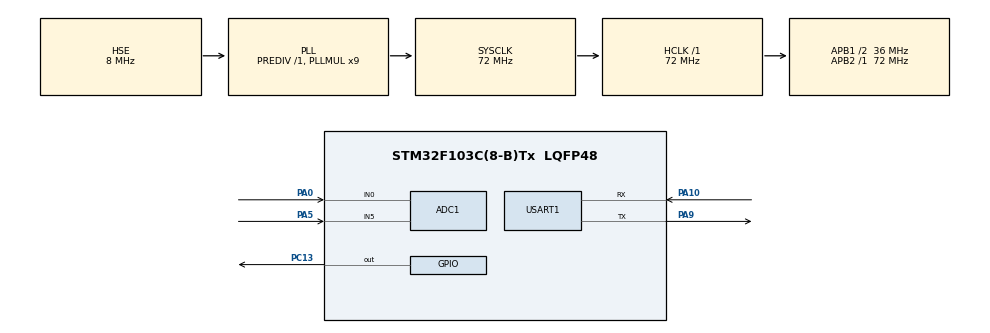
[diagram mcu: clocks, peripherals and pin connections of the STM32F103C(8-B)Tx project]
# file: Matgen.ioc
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ADC1.Channel-0\#ChannelRegularConversion=ADC_CHANNEL_0
ADC1.Channel-1\#ChannelRegularConversion=ADC_CHANNEL_5
ADC1.Channel-2\#ChannelRegularConversion=ADC_CHANNEL_VREFINT
ADC1.ContinuousConvMode=DISABLE
ADC1.ExternalTrigConv=ADC_EXTERNALTRIGCONV_T3_TRGO
ADC1.NbrOfConversion=3
ADC1.NbrOfConversionFlag=1
ADC1.Rank-0\#ChannelRegularConversion=1
ADC1.Rank-1\#ChannelRegularConversion=2
ADC1.Rank-2\#ChannelRegularConversion=3
ADC1.SamplingTime-0\#ChannelRegularConversion=ADC_SAMPLETIME_71CYCLES_5
ADC1.SamplingTime-1\#ChannelRegularConversion=ADC_SAMPLETIME_71CYCLES_5
ADC1.SamplingTime-2\#ChannelRegularConversion=ADC_SAMPLETIME_239CYCLES_5
ADC1.master=1
Dma.ADC1.0.Direction=DMA_PERIPH_TO_MEMORY
Dma.ADC1.0.Instance=DMA1_Channel1
Dma.ADC1.0.MemDataAlignment=DMA_MDATAALIGN_HALFWORD
Dma.ADC1.0.MemInc=DMA_MINC_ENABLE
Dma.ADC1.0.Mode=DMA_CIRCULAR
Dma.ADC1.0.PeriphDataAlignment=DMA_PDATAALIGN_HALFWORD
Dma.ADC1.0.PeriphInc=DMA_PINC_DISABLE
Dma.ADC1.0.Priority=DMA_PRIORITY_LOW
Dma.Request0=ADC1
Dma.Request1=USART1_TX
Dma.USART1_TX.1.Direction=DMA_MEMORY_TO_PERIPH
Dma.USART1_TX.1.Instance=DMA1_Channel4
Dma.USART1_TX.1.MemDataAlignment=DMA_MDATAALIGN_BYTE
Dma.USART1_TX.1.MemInc=DMA_MINC_ENABLE
Dma.USART1_TX.1.Mode=DMA_NORMAL
Dma.USART1_TX.1.PeriphDataAlignment=DMA_PDATAALIGN_BYTE
Dma.USART1_TX.1.PeriphInc=DMA_PINC_DISABLE
Dma.USART1_TX.1.Priority=DMA_PRIORITY_LOW
Mcu.Family=STM32F1
Mcu.Name=STM32F103C(8-B)Tx
Mcu.Package=LQFP48
NVIC.DMA1_Channel1_IRQn=true\:0\:0\:false\:false\:true\:false\:true\:true
NVIC.DMA1_Channel4_IRQn=true\:0\:0\:false\:false\:true\:false\:true\:true
NVIC.PriorityGroup=NVIC_PRIORITYGROUP_4
NVIC.USART1_IRQn=true\:0\:0\:false\:false\:true\:true\:true\:true
PA0-WKUP.Signal=ADCx_IN0
PA10.Mode=Asynchronous
PA10.Signal=USART1_RX
PA5.Signal=ADCx_IN5
PA9.Mode=Asynchronous
PA9.Signal=USART1_TX
PC13-TAMPER-RTC.GPIO_Speed=GPIO_SPEED_FREQ_MEDIUM
PC13-TAMPER-RTC.Signal=GPIO_Output
PD0-OSC_IN.Mode=HSE-External-Oscillator
PD0-OSC_IN.Signal=RCC_OSC_IN
PD1-OSC_OUT.Mode=HSE-External-Oscillator
PD1-OSC_OUT.Signal=RCC_OSC_OUT
ProjectManager.HeapSize=0x200
ProjectManager.StackSize=0x400
ProjectManager.TargetToolchain=STM32CubeIDE
RCC.ADCPresc=RCC_ADCPCLK2_DIV6
RCC.AHBFreq_Value=72000000
RCC.APB1CLKDivider=RCC_HCLK_DIV2
RCC.APB1Freq_Value=36000000
RCC.APB1TimFreq_Value=72000000
RCC.APB2Freq_Value=72000000
RCC.APB2TimFreq_Value=72000000
RCC.HCLKFreq_Value=72000000
RCC.PLLMUL=RCC_PLL_MUL9
RCC.PLLSourceVirtual=RCC_PLLSOURCE_HSE
RCC.SYSCLKFreq_VALUE=72000000
RCC.SYSCLKSource=RCC_SYSCLKSOURCE_PLLCLK
RCC.USBFreq_Value=72000000
SH.ADCx_IN0.0=ADC1_IN0,IN0
SH.ADCx_IN5.0=ADC1_IN5,IN5
TIM3.Period=899
TIM3.Prescaler=23
TIM3.TIM_MasterOutputTrigger=TIM_TRGO_UPDATE
USART1.Parity=PARITY_NONE
USART1.VirtualMode=VM_ASYNC
USART1.WordLength=WORDLENGTH_8B
VP_ADC1_Vref_Input.Mode=IN-Vrefint
VP_SYS_VS_ND.Mode=No_Debug
VP_TIM3_VS_ClockSourceINT.Mode=Internal
board=custom

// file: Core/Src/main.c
/* USER CODE BEGIN Header */
/**
 ******************************************************************************
 * @file           : main.c
 * @brief          : Current Logger
 ******************************************************************************
 * @attention
 *
 * Copyright (c) 2026 STMicroelectronics.
 * All rights reserved.
 *
 * This software is licensed under terms that can be found in the LICENSE file
 * in the root directory of this software component.
 * If no LICENSE file comes with this software, it is provided AS-IS.
 *
 ******************************************************************************
 */
/* USER CODE END Header */
#include "main.h"

/* USER CODE BEGIN Includes */
#include <string.h>
#include "rmsPeak.h"
/* USER CODE END Includes */

/* USER CODE BEGIN PD */

#define ADCbufferLength 400

/* USER CODE END PD */

ADC_HandleTypeDef hadc1;
DMA_HandleTypeDef hdma_adc1;

TIM_HandleTypeDef htim3;

UART_HandleTypeDef huart1;
DMA_HandleTypeDef hdma_usart1_tx;

/* USER CODE BEGIN PV */
static volatile uint16_t ADC_buff[ADCbufferLength];
static volatile uint8_t ADC_FirstHalf = 0;
static volatile uint8_t ADC_SecondHalf = 0;
unsigned int rms = 0, peak = 0;
static volatile uint8_t failflag = 0;
static uint8_t txbuf[8];

float TruVdd = 3.30f;
float BiasV = 1.65f;

/* USER CODE END PV */

void SystemClock_Config(void);
static void MX_GPIO_Init(void);
static void MX_DMA_Init(void);
static void MX_ADC1_Init(void);
static void MX_USART1_UART_Init(void);
static void MX_TIM3_Init(void);

/* USER CODE BEGIN 0 */
static HAL_StatusTypeDef GetSum(uint32_t adcchannel, uint32_t *sum) {

	ADC_ChannelConfTypeDef sConfig = { 0 };

	hadc1.Instance = ADC1;
	hadc1.Init.ScanConvMode = ADC_SCAN_DISABLE;
	hadc1.Init.ContinuousConvMode = DISABLE;
	hadc1.Init.DiscontinuousConvMode = DISABLE;
	hadc1.Init.ExternalTrigConv = ADC_SOFTWARE_START;
	hadc1.Init.DataAlign = ADC_DATAALIGN_RIGHT;
	hadc1.Init.NbrOfConversion = 1;
	if (HAL_ADC_Init(&hadc1) != HAL_OK) {
		return HAL_ERROR;
	}
	/** Configure Regular Channel
	 */
	sConfig.Channel = adcchannel;
	sConfig.Rank = ADC_REGULAR_RANK_1;
	sConfig.SamplingTime = ADC_SAMPLETIME_239CYCLES_5;
	if (HAL_ADC_ConfigChannel(&hadc1, &sConfig) != HAL_OK) {
		return HAL_ERROR;
	}

	HAL_ADCEx_Calibration_Start(&hadc1);

	for (int var = 0; var < 16; var++) {

		HAL_ADC_Start(&hadc1);

		if (HAL_ADC_PollForConversion(&hadc1, 10) != HAL_OK)
			goto fail;
		*sum += HAL_ADC_GetValue(&hadc1);

		HAL_ADC_Stop(&hadc1);
	}
	return HAL_OK;

	fail: return HAL_ERROR;

}
static HAL_StatusTypeDef GetVdd(float *TruVdd, float *BiasV) {

	uint32_t sumVdd = 0, sumBias = 0;
	float avgVdd = 0.00f, avgBias = 0.0f;
	if (GetSum(ADC_CHANNEL_VREFINT, &sumVdd) != HAL_OK)
		goto fail;
	avgVdd = sumVdd / 16.0f;
	*TruVdd = (1.20f * 4095.0f) / avgVdd;
	if (GetSum(ADC_CHANNEL_5, &sumBias) != HAL_OK)
		goto fail;
	avgBias = sumBias / 16.0f;
	*BiasV = (avgBias * (*TruVdd)) / 4095.0f;
	return HAL_OK;

	fail: HAL_ADC_Stop(&hadc1);
	failflag = 1;
	return HAL_ERROR;
}

void HAL_ADC_ConvHalfCpltCallback(ADC_HandleTypeDef *hadc1) {
	ADC_FirstHalf = 1;
}

void HAL_ADC_ConvCpltCallback(ADC_HandleTypeDef *hadc1) {
	ADC_SecondHalf = 1;
}

static HAL_StatusTypeDef SendData(unsigned int rms, unsigned int peak) {

	if (huart1.gState != HAL_UART_STATE_READY)
		return HAL_BUSY;

	txbuf[0] = (uint8_t)(rms);
	txbuf[1] = (uint8_t)(rms>>8);
	txbuf[2] = (uint8_t)(rms>>16);
	txbuf[3] = (uint8_t)(rms>>24);
	txbuf[4] = (uint8_t)(peak);
	txbuf[5] = (uint8_t)(peak>>8);
	txbuf[6] = (uint8_t)(peak>>16);
	txbuf[7] = (uint8_t)(peak>>24);

	return HAL_UART_Transmit_DMA(&huart1, txbuf, 8);
}
/* USER CODE END 0 */

int main(void) {

	/* MCU Configuration--------------------------------------------------------*/

	/* Reset of all peripherals, Initializes the Flash interface and the Systick. */
	HAL_Init();

	/* Configure the system clock */
	SystemClock_Config();

	/* Initialize all configured peripherals */
	MX_GPIO_Init();
	MX_DMA_Init();
	MX_USART1_UART_Init();
	MX_TIM3_Init();

	/* USER CODE BEGIN 2 */
	if (GetVdd(&TruVdd, &BiasV) != HAL_OK) {
		TruVdd = 3.30f;
		BiasV = 1.65f;
	}

	uint16_t bias = (uint16_t) (4095 * BiasV / TruVdd + 0.5f);
	TruVdd *= 1000;
	uint16_t vdd = (uint16_t) TruVdd;

	MX_ADC1_Init();
	HAL_ADCEx_Calibration_Start(&hadc1);
	HAL_ADC_Start_DMA(&hadc1, (uint32_t*) ADC_buff, ADCbufferLength);
	HAL_TIM_Base_Start(&htim3);

	uint32_t t_led = 0;
	/* USER CODE END 2 */

	/* Infinite loop */
	/* USER CODE BEGIN WHILE */
	while (1) {
		uint32_t now = HAL_GetTick();
		if (now - t_led >= 500 && failflag == 0) {
			t_led = now;
			HAL_GPIO_TogglePin(GPIOC, GPIO_PIN_13);
		}

		if (now - t_led >= 100 && failflag == 1) {
			t_led = now;
			HAL_GPIO_TogglePin(GPIOC, GPIO_PIN_13);
		}

		if (ADC_FirstHalf == 1) {

			ADC_FirstHalf = 0;
			rmsPeak((const uint16_t*) &ADC_buff[0], bias, vdd, &rms, &peak);
			SendData(rms, peak);

		}

		if (ADC_SecondHalf == 1) {

			ADC_SecondHalf = 0;
			rmsPeak((const uint16_t*) &ADC_buff[200], bias, vdd, &rms, &peak);
			SendData(rms, peak);
		}
		/* USER CODE END WHILE */

	}
}

void SystemClock_Config(void) {
	RCC_OscInitTypeDef RCC_OscInitStruct = { 0 };
	RCC_ClkInitTypeDef RCC_ClkInitStruct = { 0 };
	RCC_PeriphCLKInitTypeDef PeriphClkInit = { 0 };

	/** Initializes the RCC Oscillators according to the specified parameters
	 * in the RCC_OscInitTypeDef structure.
	 */
	RCC_OscInitStruct.OscillatorType = RCC_OSCILLATORTYPE_HSE;
	RCC_OscInitStruct.HSEState = RCC_HSE_ON;
	RCC_OscInitStruct.HSEPredivValue = RCC_HSE_PREDIV_DIV1;
	RCC_OscInitStruct.HSIState = RCC_HSI_ON;
	RCC_OscInitStruct.PLL.PLLState = RCC_PLL_ON;
	RCC_OscInitStruct.PLL.PLLSource = RCC_PLLSOURCE_HSE;
	RCC_OscInitStruct.PLL.PLLMUL = RCC_PLL_MUL9;
	if (HAL_RCC_OscConfig(&RCC_OscInitStruct) != HAL_OK) {
		Error_Handler();
	}

	/** Initializes the CPU, AHB and APB buses clocks
	 */
	RCC_ClkInitStruct.ClockType = RCC_CLOCKTYPE_HCLK | RCC_CLOCKTYPE_SYSCLK
			| RCC_CLOCKTYPE_PCLK1 | RCC_CLOCKTYPE_PCLK2;
	RCC_ClkInitStruct.SYSCLKSource = RCC_SYSCLKSOURCE_PLLCLK;
	RCC_ClkInitStruct.AHBCLKDivider = RCC_SYSCLK_DIV1;
	RCC_ClkInitStruct.APB1CLKDivider = RCC_HCLK_DIV2;
	RCC_ClkInitStruct.APB2CLKDivider = RCC_HCLK_DIV1;

	if (HAL_RCC_ClockConfig(&RCC_ClkInitStruct, FLASH_LATENCY_2) != HAL_OK) {
		Error_Handler();
	}
	PeriphClkInit.PeriphClockSelection = RCC_PERIPHCLK_ADC;
	PeriphClkInit.AdcClockSelection = RCC_ADCPCLK2_DIV6;
	if (HAL_RCCEx_PeriphCLKConfig(&PeriphClkInit) != HAL_OK) {
		Error_Handler();
	}
}

static void MX_ADC1_Init(void) {

	ADC_ChannelConfTypeDef sConfig = { 0 };

	/** Common config
	 */
	hadc1.Instance = ADC1;
	hadc1.Init.ScanConvMode = ADC_SCAN_ENABLE;
	hadc1.Init.ContinuousConvMode = DISABLE;
	hadc1.Init.DiscontinuousConvMode = DISABLE;
	hadc1.Init.ExternalTrigConv = ADC_EXTERNALTRIGCONV_T3_TRGO;
	hadc1.Init.DataAlign = ADC_DATAALIGN_RIGHT;
	hadc1.Init.NbrOfConversion = 1;
	if (HAL_ADC_Init(&hadc1) != HAL_OK) {
		Error_Handler();
	}

	/** Configure Regular Channel
	 */
	sConfig.Channel = ADC_CHANNEL_0;
	sConfig.Rank = ADC_REGULAR_RANK_1;
	sConfig.SamplingTime = ADC_SAMPLETIME_71CYCLES_5;
	if (HAL_ADC_ConfigChannel(&hadc1, &sConfig) != HAL_OK) {
		Error_Handler();
	}

}

static void MX_TIM3_Init(void) {

	TIM_ClockConfigTypeDef sClockSourceConfig = { 0 };
	TIM_MasterConfigTypeDef sMasterConfig = { 0 };

	htim3.Instance = TIM3;
	htim3.Init.Prescaler = 23;
	htim3.Init.CounterMode = TIM_COUNTERMODE_UP;
	htim3.Init.Period = 899;
	htim3.Init.ClockDivision = TIM_CLOCKDIVISION_DIV1;
	htim3.Init.AutoReloadPreload = TIM_AUTORELOAD_PRELOAD_DISABLE;
	if (HAL_TIM_Base_Init(&htim3) != HAL_OK) {
		Error_Handler();
	}
	sClockSourceConfig.ClockSource = TIM_CLOCKSOURCE_INTERNAL;
	if (HAL_TIM_ConfigClockSource(&htim3, &sClockSourceConfig) != HAL_OK) {
		Error_Handler();
	}
	sMasterConfig.MasterOutputTrigger = TIM_TRGO_UPDATE;
	sMasterConfig.MasterSlaveMode = TIM_MASTERSLAVEMODE_DISABLE;
	if (HAL_TIMEx_MasterConfigSynchronization(&htim3, &sMasterConfig)
			!= HAL_OK) {
		Error_Handler();
	}

}

static void MX_USART1_UART_Init(void) {

	huart1.Instance = USART1;
	huart1.Init.BaudRate = 115200;
	huart1.Init.WordLength = UART_WORDLENGTH_8B;
	huart1.Init.StopBits = UART_STOPBITS_1;
	huart1.Init.Parity = UART_PARITY_NONE;
	huart1.Init.Mode = UART_MODE_TX_RX;
	huart1.Init.HwFlowCtl = UART_HWCONTROL_NONE;
	huart1.Init.OverSampling = UART_OVERSAMPLING_16;
	if (HAL_UART_Init(&huart1) != HAL_OK) {
		Error_Handler();
	}

}

static void MX_DMA_Init(void) {

	/* DMA controller clock enable */
	__HAL_RCC_DMA1_CLK_ENABLE();

	/* DMA interrupt init */
	/* DMA1_Channel1_IRQn interrupt configuration */
	HAL_NVIC_SetPriority(DMA1_Channel1_IRQn, 0, 0);
	HAL_NVIC_EnableIRQ(DMA1_Channel1_IRQn);
	/* DMA1_Channel4_IRQn interrupt configuration */
	HAL_NVIC_SetPriority(DMA1_Channel4_IRQn, 0, 0);
	HAL_NVIC_EnableIRQ(DMA1_Channel4_IRQn);

}

static void MX_GPIO_Init(void) {
	GPIO_InitTypeDef GPIO_InitStruct = { 0 };

	/* GPIO Ports Clock Enable */
	__HAL_RCC_GPIOC_CLK_ENABLE();
	__HAL_RCC_GPIOD_CLK_ENABLE();
	__HAL_RCC_GPIOA_CLK_ENABLE();

	/*Configure GPIO pin Output Level */
	HAL_GPIO_WritePin(GPIOC, GPIO_PIN_13, GPIO_PIN_RESET);

	/*Configure GPIO pin : PC13 */
	GPIO_InitStruct.Pin = GPIO_PIN_13;
	GPIO_InitStruct.Mode = GPIO_MODE_OUTPUT_PP;
	GPIO_InitStruct.Pull = GPIO_NOPULL;
	GPIO_InitStruct.Speed = GPIO_SPEED_FREQ_MEDIUM;
	HAL_GPIO_Init(GPIOC, &GPIO_InitStruct);

}

void Error_Handler(void) {
	__disable_irq();
	while (1) {
	}
}
